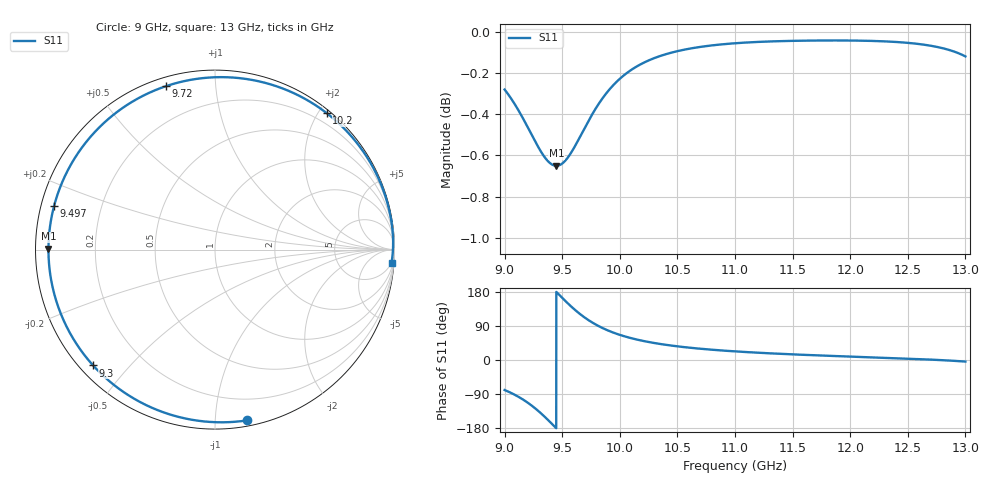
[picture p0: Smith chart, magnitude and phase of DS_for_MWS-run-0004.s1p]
! TOUCHSTONE file generated by CST DESIGN STUDIO
! Date and time: Tue Feb  4 14:23:01 2025
! Project name: C:\Work\MatlabApps\UnitCellOptimizationMatlab\CST\unitcell.cst
! Tree item: Tasks\Sweep1\SPara1\S-Parameters
! Header version: 2024
! Port assignment regex: !\s*Touchstone port\s*([0-9]+)\s*=\s*(CST MWS port|CST DES external port|CST DES block port)\s*(.+)\s* \(\"(.*)\"\)(\s*mode\s*([0-9]+))?.*
! Touchstone port assignment:
! Touchstone port 1 = CST DES external port 1 ("")
# GHz S MA R 50
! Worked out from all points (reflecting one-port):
!   4001 points, 9 GHz to 13 GHz, reference 50 ohm
!   lowest |S11| = -0.7 dB at 9.449 GHz (marker M1), VSWR 26.73, Z = 1.87 + j0.131 ohm
!   phase of S11 starts at -79 deg and turns -285 deg over the sweep
!   S11 on the Smith chart (normalised r, x): 9 GHz: 0.04, -1.21; 9.3 GHz: 0.04, -0.40; 9.497 GHz: 0.04, +0.13; 9.72 GHz: 0.04, +0.74; 10.2 GHz: 0.05, +2.11; 13 GHz: 5, -26
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9  0.9683 -79.2
9.073  0.9619 -89.4
9.169  0.9518 -106.1
9.237  0.9439 -120.7
9.3  0.9369 -136.5
9.38  0.93 -159.2
9.415  0.9284 -169.8
9.449  0.9279 179.7
9.497  0.9289 164.9
9.5  0.929 164.0
9.558  0.9329 146.8
9.611  0.9382 132.2
9.664  0.9441 119.1
9.72  0.9506 106.9
9.784  0.9574 94.8
9.858  0.9643 83.2
9.927  0.9696 74.2
10  0.9742 66.3
10.093  0.9788 58.1
10.197  0.9826 50.7
10.336  0.9864 43.0
10.5  0.9894 36.1
10.722  0.9919 29.1
11  0.9937 22.8
11.5  0.9951 14.9
12  0.9953 9.0
12.5  0.994 3.6
13  0.9865 -4.2
